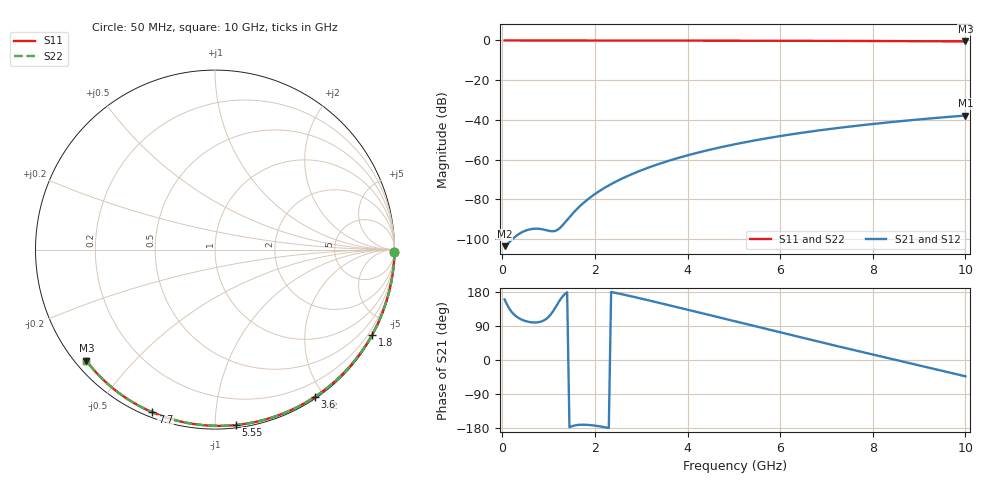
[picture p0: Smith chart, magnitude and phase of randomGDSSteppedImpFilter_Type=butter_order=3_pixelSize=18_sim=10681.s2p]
! freq	dB(S11)	phase(S11)	dB(S12)	phase(S12)
!  dB(S21)	phase(S21)	dB(S22)	phase(S22)
!S-par simulation data
#  GHz  S  DB  R 50
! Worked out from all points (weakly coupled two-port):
!   200 points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, 50 MHz to 10 GHz, reference 50 ohm
!   highest |S21| = -37.80 dB at 10 GHz (marker M1); lowest = -103.5 dB at 50 MHz (marker M2)
!   lowest |S11| = -0.5 dB at 10 GHz (marker M3), VSWR 36.87, Z = 1.54 - j18.6 ohm
!   |S11| at or under -10 dB: nowhere
!   |S22| runs from -0.5 to 0.0 dB; largest |S21 - S12| = 0
!   S11 on the Smith chart (normalised r, x): 50 MHz: open; 1.8 GHz: 0.03, -3.92; 3.6 GHz: 0.02, -1.89; 5.55 GHz: 0.02, -1.12; 7.7 GHz: 0.02, -0.69; 10 GHz: 0.03, -0.37
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0.05  -0.00 -0.8  -103.54 159.8  -103.54 159.8  -0.00 -0.8
0.45  -0.01 -7.3  -96.24 105.0  -96.24 105.0  -0.01 -7.3
0.9  -0.02 -14.4  -95.22 104.6  -95.22 104.6  -0.02 -14.4
1.75  -0.04 -27.8  -81.83 -170.8  -81.83 -170.8  -0.04 -27.8
1.8  -0.04 -28.6  -80.84 -170.9  -80.84 -170.9  -0.04 -28.6
1.85  -0.04 -29.4  -79.90 -171.3  -79.90 -171.3  -0.04 -29.4
2  -0.04 -31.7  -77.31 -173.2  -77.31 -173.2  -0.04 -31.7
2.15  -0.04 -34.0  -75.01 -176.0  -75.01 -176.0  -0.04 -34.0
2.35  -0.05 -37.1  -72.31 179.4  -72.31 179.4  -0.05 -37.1
2.55  -0.05 -40.2  -69.91 174.4  -69.91 174.4  -0.05 -40.2
2.95  -0.06 -46.2  -65.83 163.4  -65.83 163.4  -0.06 -46.2
3.4  -0.07 -52.9  -62.02 150.5  -62.02 150.5  -0.07 -52.9
3.6  -0.08 -55.8  -60.53 144.6  -60.53 144.6  -0.08 -55.8
4.3  -0.09 -65.9  -56.02 123.8  -56.02 123.8  -0.09 -66.0
5.05  -0.12 -76.4  -52.11 101.3  -52.11 101.3  -0.12 -76.4
5.55  -0.14 -83.3  -49.90 86.3  -49.90 86.3  -0.14 -83.3
6.1  -0.16 -90.6  -47.76 69.9  -47.76 69.9  -0.16 -90.6
6.7  -0.19 -98.4  -45.71 52.2  -45.71 52.2  -0.19 -98.4
7.7  -0.25 -111.1  -42.82 23.1  -42.82 23.1  -0.25 -111.1
8.35  -0.30 -119.1  -41.20 4.5  -41.20 4.5  -0.30 -119.1
9.2  -0.38 -129.5  -39.33 -19.8  -39.33 -19.8  -0.38 -129.5
10  -0.47 -139.1  -37.80 -43.1  -37.80 -43.1  -0.47 -139.1
